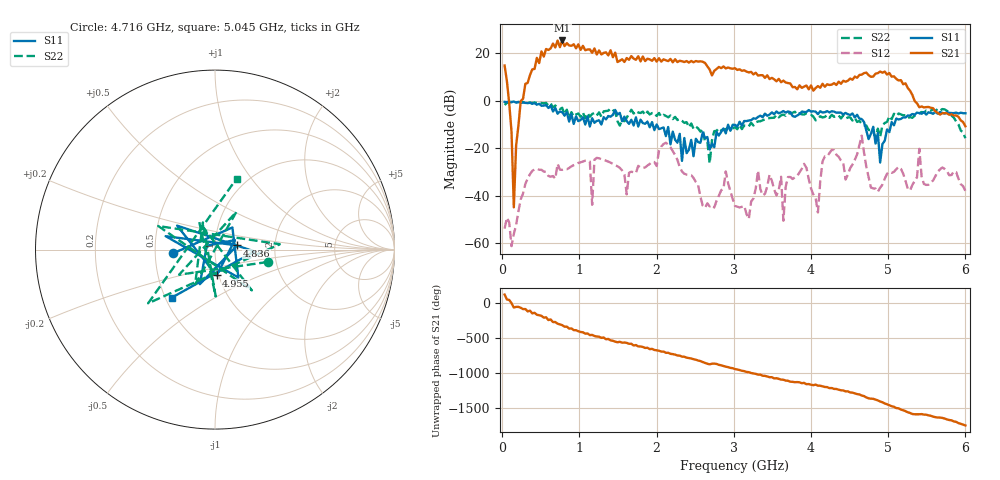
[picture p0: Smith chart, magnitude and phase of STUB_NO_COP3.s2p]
!Keysight Technologies N9916A: A.08.01
!Date: Thursday, 22 June 2023 13:14:39
!Timezone: (GMT+01:00) Amsterdam, Berlin, Bern, Rome, Stockholm, Vienna
!Model: N9916A
!Serial: MY53104702
!GPS Latitude:
!GPS Longitude:
!GPS TimeStamp: 0001-01-01 00:00:00Z
!GPS Seconds Since Last Read: 0
!CHECKSUM:0705596768
!Correction: S11(Rdy)S21(ON U)S12(OFF)S22(Rdy)
!S2P File: Measurements:S11,S21,S12,S22:
# Hz S DB R 50
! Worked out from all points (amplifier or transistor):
!   201 points, 30 MHz to 6 GHz, reference 50 ohm
!   highest |S21| = 25.5 dB at 776.2 MHz (marker M1)
!   |S21| within 3 dB of that: 632.1 MHz to 949.9 MHz (317.9 MHz wide, 40.2 % of centre) (the widest 1 of 3)
!   unconditionally stable (mu >= 1): 2.247 GHz to 4.266 GHz; 4.272 GHz to 4.647 GHz; 4.671 GHz to end of sweep (the widest 3 of 11)
!   at 1.015 GHz: K = 1.01, MAG = 23.1 dB, |S12| = -25.8 dB
!   at 3.015 GHz: K = 13.95, MAG = 14.6 dB, |S12| = -44.3 dB
!   at 6 GHz: K = 91.89, MAG = -9.0 dB, |S12| = -37.9 dB
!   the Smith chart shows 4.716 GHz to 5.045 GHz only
!   S11 on the Smith chart (normalised r, x): 4.716 GHz: 0.62, -0.03; 4.836 GHz: 1.28, +0.06; 4.955 GHz: 0.98, -0.29; 5.045 GHz: 0.54, -0.33
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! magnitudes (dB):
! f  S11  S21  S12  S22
! 30 MHz  -0.4  14.9  -53.8  -1.7
! 119.5 MHz  -0.5  -13.0  -61.2  -0.5
! 149.4 MHz  -0.3  -44.8  -56.0  -0.4
! 179.2 MHz  -0.7  -18.8  -52.2  -0.7
! 298.6 MHz  -0.8  7.2  -35.0  -0.8
! 776.2 MHz  -4.8  25.5  -29.0  -2.9
! 1.045 GHz  -6.9  23.2  -25.6  -4.9
! 1.164 GHz  -7.3  20.3  -43.8  -5.5
! 1.194 GHz  -9.2  22.1  -24.7  -5.1
! 1.612 GHz  -8.5  18.1  -39.4  -7.1
! 2.03 GHz  -11.9  18.0  -21.0  -5.1
! 2.687 GHz  -20.5  13.2  -44.5  -26.3
! 2.896 GHz  -13.7  13.7  -29.7  -11.9
! 3.015 GHz  -10.1  13.8  -44.3  -11.1
! 4.03 GHz  -4.4  4.3  -39.5  -6.6
! 4.269 GHz  -4.3  6.9  -20.6  -5.8
! 4.716 GHz  -12.5  11.9  -27.8  -10.4
! 4.836 GHz  -18.0  11.5  -37.0  -15.6
! 4.955 GHz  -16.8  12.3  -32.7  -9.3
! 5.015 GHz  -13.1  11.8  -29.9  -6.4
! 5.045 GHz  -8.9  10.2  -30.3  -7.7
! 6 GHz  -5.2  -10.7  -37.9  -15.7
